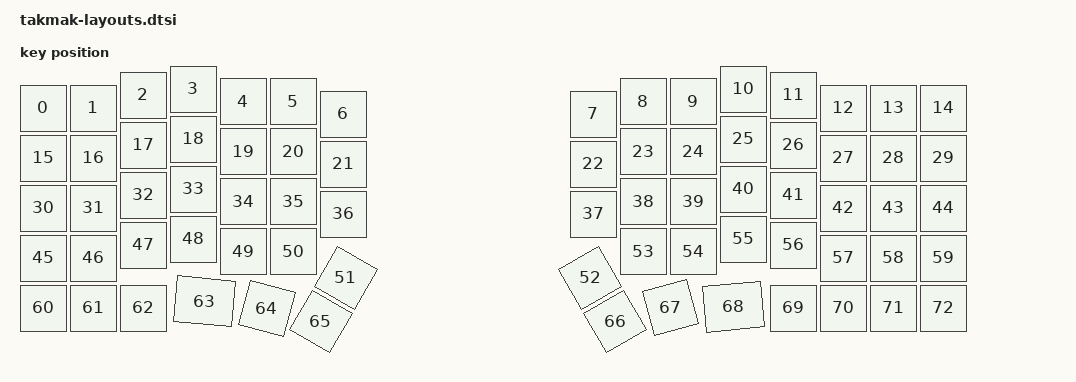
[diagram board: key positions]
#include <physical_layouts.dtsi>

/ {
    physical_layout0: physical_layout_0 {
        compatible = "zmk,physical-layout";
        display-name = "All Keys";

        kscan = <&kscan0>;
        transform = <&matrix_transform0>;

        keys  //                     w   h    x    y     rot    rx    ry
            = <&key_physical_attrs 100 100    0   38       0     0     0>
            , <&key_physical_attrs 100 100  100   38       0     0     0>
            , <&key_physical_attrs 100 100  200   12       0     0     0>
            , <&key_physical_attrs 100 100  300    0       0     0     0>
            , <&key_physical_attrs 100 100  400   25       0     0     0>
            , <&key_physical_attrs 100 100  500   25       0     0     0>
            , <&key_physical_attrs 100 100  600   50       0     0     0>
            , <&key_physical_attrs 100 100 1100   50       0     0     0>
            , <&key_physical_attrs 100 100 1200   25       0     0     0>
            , <&key_physical_attrs 100 100 1300   25       0     0     0>
            , <&key_physical_attrs 100 100 1400    0       0     0     0>
            , <&key_physical_attrs 100 100 1500   12       0     0     0>
            , <&key_physical_attrs 100 100 1600   38       0     0     0>
            , <&key_physical_attrs 100 100 1700   38       0     0     0>
            , <&key_physical_attrs 100 100 1800   38       0     0     0>
            , <&key_physical_attrs 100 100    0  138       0     0     0>
            , <&key_physical_attrs 100 100  100  138       0     0     0>
            , <&key_physical_attrs 100 100  200  112       0     0     0>
            , <&key_physical_attrs 100 100  300  100       0     0     0>
            , <&key_physical_attrs 100 100  400  125       0     0     0>
            , <&key_physical_attrs 100 100  500  125       0     0     0>
            , <&key_physical_attrs 100 100  600  150       0     0     0>
            , <&key_physical_attrs 100 100 1100  150       0     0     0>
            , <&key_physical_attrs 100 100 1200  125       0     0     0>
            , <&key_physical_attrs 100 100 1300  125       0     0     0>
            , <&key_physical_attrs 100 100 1400  100       0     0     0>
            , <&key_physical_attrs 100 100 1500  112       0     0     0>
            , <&key_physical_attrs 100 100 1600  138       0     0     0>
            , <&key_physical_attrs 100 100 1700  138       0     0     0>
            , <&key_physical_attrs 100 100 1800  138       0     0     0>
            , <&key_physical_attrs 100 100    0  238       0     0     0>
            , <&key_physical_attrs 100 100  100  238       0     0     0>
            , <&key_physical_attrs 100 100  200  212       0     0     0>
            , <&key_physical_attrs 100 100  300  200       0     0     0>
            , <&key_physical_attrs 100 100  400  225       0     0     0>
            , <&key_physical_attrs 100 100  500  225       0     0     0>
            , <&key_physical_attrs 100 100  600  250       0     0     0>
            , <&key_physical_attrs 100 100 1100  250       0     0     0>
            , <&key_physical_attrs 100 100 1200  225       0     0     0>
            , <&key_physical_attrs 100 100 1300  225       0     0     0>
            , <&key_physical_attrs 100 100 1400  200       0     0     0>
            , <&key_physical_attrs 100 100 1500  212       0     0     0>
            , <&key_physical_attrs 100 100 1600  238       0     0     0>
            , <&key_physical_attrs 100 100 1700  238       0     0     0>
            , <&key_physical_attrs 100 100 1800  238       0     0     0>
            , <&key_physical_attrs 100 100    0  338       0     0     0>
            , <&key_physical_attrs 100 100  100  338       0     0     0>
            , <&key_physical_attrs 100 100  200  312       0     0     0>
            , <&key_physical_attrs 100 100  300  300       0     0     0>
            , <&key_physical_attrs 100 100  400  325       0     0     0>
            , <&key_physical_attrs 100 100  500  325       0     0     0>
            , <&key_physical_attrs 100 100  600  350    3000   600   425>
            , <&key_physical_attrs 100 100 1100  350 (-3000)  1200   425>
            , <&key_physical_attrs 100 100 1200  325       0     0     0>
            , <&key_physical_attrs 100 100 1300  325       0     0     0>
            , <&key_physical_attrs 100 100 1400  300       0     0     0>
            , <&key_physical_attrs 100 100 1500  312       0     0     0>
            , <&key_physical_attrs 100 100 1600  338       0     0     0>
            , <&key_physical_attrs 100 100 1700  338       0     0     0>
            , <&key_physical_attrs 100 100 1800  338       0     0     0>
            , <&key_physical_attrs 100 100    0  438       0     0     0>
            , <&key_physical_attrs 100 100  100  438       0     0     0>
            , <&key_physical_attrs 100 100  200  438       0     0     0>
            , <&key_physical_attrs 125 100  310  425     500   375   475>
            , <&key_physical_attrs 100 100  445  420    1500   425   490>
            , <&key_physical_attrs 100 100  600  450    3000   600   425>
            , <&key_physical_attrs 100 100 1100  450 (-3000)  1200   425>
            , <&key_physical_attrs 100 100 1265  440 (-1500)  1300   525>
            , <&key_physical_attrs 125 100 1375  425  (-500)  1550   550>
            , <&key_physical_attrs 100 100 1500  438       0     0     0>
            , <&key_physical_attrs 100 100 1600  438       0     0     0>
            , <&key_physical_attrs 100 100 1700  438       0     0     0>
            , <&key_physical_attrs 100 100 1800  438       0     0     0>
            ;
    };
};
